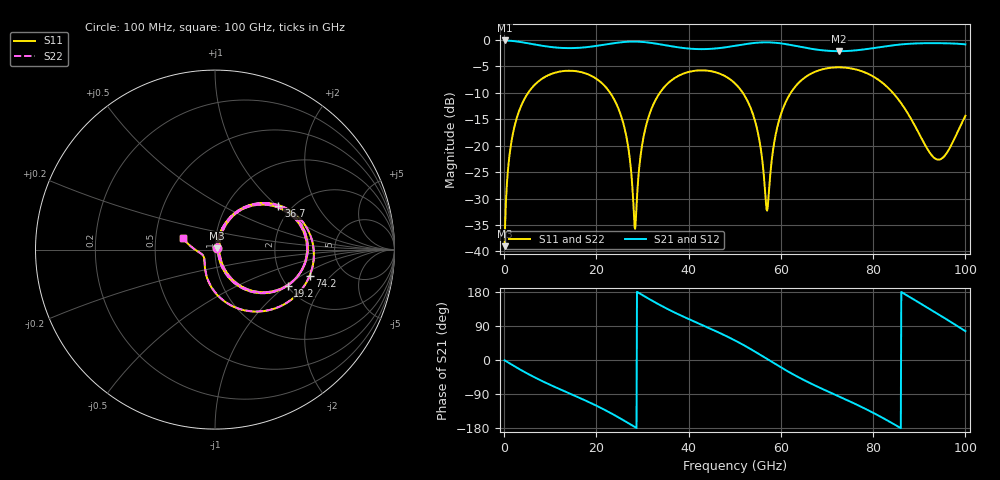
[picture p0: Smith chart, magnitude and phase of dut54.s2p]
! Touchstone file exported from HFSS 2026.1.0
!  File:  C:/ffzhzh/LocalFiles/Ansys_Project_Files/temp_train_TSV_RDL_54_1783446217_41684.aedt
!  Generated:  01:52:13 AM Jul  8, 2026
!  Design:  TSV_RDL
!  Project:  temp_train_TSV_RDL_54_1783446217_41684
! Variables:
!  h_bsmrdl = 4.76um
!  h_ox = 20um
!  h_rdl = 5um
!  h_sub = 57.74um
!  h_tmrdl = 4.08um
!  h_tsv = 57.74um
!  h_via = 3um
!  l_bsmrdl = 217.24um
!  l_sub = 2151.21um
!  l_tmrdl = 245.39um
!  m_sub = 200um
!  pitch = 56.21um
!  r_tsv = 14um
!  s_tmrdl = 10um
!  w_bsmrdl = 12.09um
!  w_sub = 500um
!  w_tmrdl = 27.22um
!  x_tsv_center1 = 259um
!  x_tsv_center2 = 488.33um
!  x_tsv_center3 = 760.94um
!  x_tsv_center4 = 990.27um
!  x_tsv_center5 = 1262.88um
!  x_tsv_center6 = 1492.21um
# GHz S MA R 50.000000
! Terminal data exported
! Port[1] = TM_RDL1_1_T1
! Port[2] = TM_RDL5_1_T1
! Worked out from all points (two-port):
!   1000 points, 100 MHz to 100 GHz, reference 50 ohm
!   highest |S21| = -0.07 dB at 100 MHz (marker M1); lowest = -2.1 dB at 72.6 GHz (marker M2)
!   |S21| within 3 dB of the highest: start of sweep to end of sweep
!   lowest |S11| = -39.0 dB at 100 MHz (marker M3), VSWR 1.02, Z = 50.8 + j0.753 ohm
!   |S11| at or under -10 dB: 23 GHz to 33.74 GHz (10.74 GHz wide, 37.9 % of centre); 51.76 GHz to 62.13 GHz (10.37 GHz wide, 18.2 % of centre); 84.3 GHz to end of sweep (the widest 3 of 4)
!   |S22| runs from -39.0 to -5.2 dB; largest |S21 - S12| = 7.9e-13
!   S11 on the Smith chart (normalised r, x): 100 MHz: 1.02, +0.02; 19.2 GHz: 2.02, -1.02; 36.7 GHz: 1.71, +1.02; 74.2 GHz: 2.87, -1.19; 100 GHz: 0.69, +0.10
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0.1  0.01122 41.3  0.9916 -0.8  0.9916 -0.8  0.01122 41.3
! Gamma 0 0 0 0
! Port Impedance 50 0 50 0
1.5  0.1041 72.7  0.9835 -11.1  0.9835 -11.1  0.1041 72.7
4.2  0.2668 56.6  0.9487 -30.2  0.9487 -30.2  0.2668 56.6
16.8  0.4962 -13.3  0.8485 -102.4  0.8485 -102.4  0.4962 -13.4
19.2  0.4516 -26.3  0.8712 -115.9  0.8712 -115.9  0.4516 -26.4
25.4  0.1889 -62.4  0.9537 -155.7  0.9537 -155.7  0.1889 -62.5
28.4  0.01639 8.7  0.9675 -177.3  0.9675 -177.3  0.01607 8.7
30.3  0.1259 70.5  0.9578 169.0  0.9578 169.0  0.1259 70.7
33.4  0.3 53.9  0.9181 147.6  0.9181 147.6  0.3 53.9
36.7  0.4294 34.6  0.8673 126.9  0.8673 126.9  0.4294 34.6
43.4  0.5165 -1.0  0.8213 89.7  0.8213 89.7  0.5165 -1.0
50.1  0.3869 -37.3  0.8831 51.2  0.8831 51.2  0.387 -37.3
54.4  0.1713 -61.3  0.9407 22.0  0.9407 22.0  0.1714 -61.4
57  0.02433 3.4  0.9521 2.8  0.9521 2.8  0.02402 3.1
60.2  0.2103 62.1  0.928 -20.8  0.928 -20.8  0.2101 62.2
66.7  0.4852 24.6  0.8254 -63.2  0.8254 -63.2  0.485 24.6
72.6  0.5525 -6.9  0.7849 -96.3  0.7849 -96.3  0.5524 -6.9
74.2  0.5473 -15.4  0.7878 -105.1  0.7878 -105.1  0.5472 -15.3
83.4  0.3479 -69.5  0.8817 -161.7  0.8817 -161.7  0.3478 -69.3
88.5  0.171 -104.0  0.9263 162.0  0.9263 162.0  0.1709 -103.7
93.8  0.07431 -147.1  0.9352 123.1  0.9352 123.1  0.07415 -146.6
100  0.1922 159.5  0.911 76.1  0.911 76.1  0.1921 159.5
